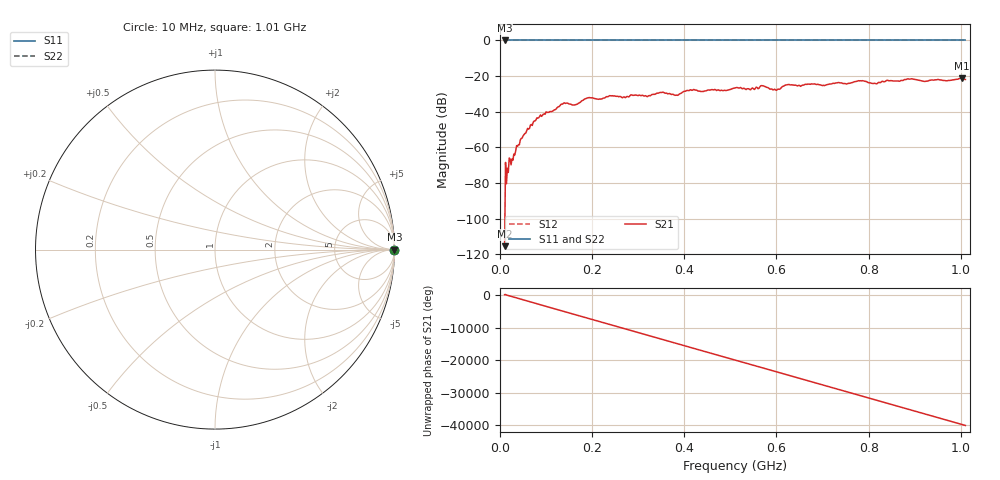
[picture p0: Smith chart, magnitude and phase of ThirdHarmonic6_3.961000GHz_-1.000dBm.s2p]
! 8/17/2025 2:04:00 PM
! C:\ANRITSUVNA\TEMP\TEMP.S2P
! CHANNEL.1
! TR.MEASUREMENT
! RAW.DATA
! RF.CORRECTION.OFF
! AVERAGING.OFF
! IF.BANDWIDTH: 5KHZ
! SWEEPTYPE:  FREQ.SWEEP(Linear)
! Reference Plane Port Info
! PORT:  PORT1  PORT2
! DISTANCE:  0  m  0  m
! TIME:  0  s  0  s
! PHASE.OFFSET:  0  deg.  0  deg.
! LOSS:  0  dB  0  dB
! REF.LOSS:  0  dB  0  dB
! REF.FREQ:  0  Hz  0  Hz
! Power Info
! POWER:  -20  dBm  -20  dBm
! EFF.POWER:  -20  dBm  -20  dBm
! SOURCE.ATTEN:  0  dB  0  dB
! TEST.ATTEN:  0  dB  0  dB
# GHZ S RI R 50.0
! FREQ.GHZ  S11RE  S11IM  S21RE  S21IM  S12RE  S12IM  S22RE  S22IM
!; PortSelection: Port_12
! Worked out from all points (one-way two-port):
!   501 points, 10 MHz to 1.01 GHz, reference 50 ohm
!   highest |S21| = -21.21 dB at 1.002 GHz (marker M1); lowest = -115.4 dB at 10 MHz (marker M2)
!   lowest |S11| = 0.0 dB at 10 MHz (marker M3)
!   |S11| at or under -10 dB: nowhere
!   |S22| runs from 0.0 to 0.0 dB; largest |S21 - S12| = 1.1
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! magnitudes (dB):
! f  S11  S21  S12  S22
! 10 MHz  0.0  -115.4  0.0  0.0
! 16 MHz  0.0  -71.7  0.0  0.0
! 40 MHz  0.0  -58.5  0.0  0.0
! 76 MHz  0.0  -45.2  0.0  0.0
! 136 MHz  0.0  -35.7  0.0  0.0
! 162 MHz  0.0  -36.2  0.0  0.0
! 178 MHz  0.0  -33.8  0.0  0.0
! 192 MHz  0.0  -32.1  0.0  0.0
! 322 MHz  0.0  -31.1  0.0  0.0
! 344 MHz  0.0  -29.5  0.0  0.0
! 382 MHz  0.0  -30.7  0.0  0.0
! 410 MHz  0.0  -28.2  0.0  0.0
! 510 MHz  0.0  -26.6  0.0  0.0
! 570 MHz  0.0  -25.4  0.0  0.0
! 596 MHz  0.0  -27.3  0.0  0.0
! 624 MHz  0.0  -24.8  0.0  0.0
! 678 MHz  0.0  -24.4  0.0  0.0
! 782 MHz  0.0  -22.6  0.0  0.0
! 814 MHz  0.0  -24.1  0.0  0.0
! 844 MHz  0.0  -22.6  0.0  0.0
! 1.002 GHz  0.0  -21.2  0.0  0.0
! 1.01 GHz  0.0  -21.9  0.0  0.0
